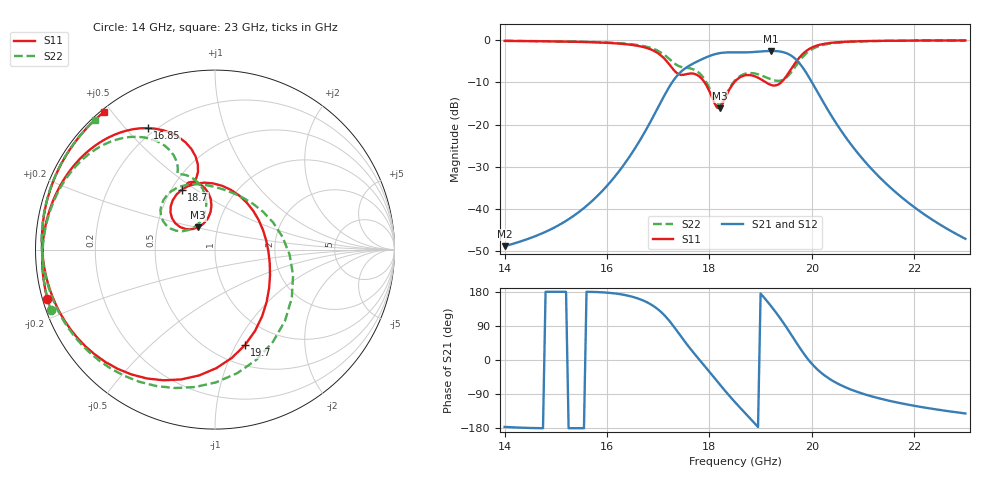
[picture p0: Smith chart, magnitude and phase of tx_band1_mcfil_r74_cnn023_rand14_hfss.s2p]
! Touchstone file exported from HFSS 3D Layout Design 2026.1.0
!  File:  D:/Work/SIM/ADS_AUTO_SIM/projects/RFSOC_RF/TX_Fillter.aedt
!  Generated:  08:07:48 AM Aug 31, 2026
!  Design:  TX_BAND1_MCFIL_R74_CNN023
!  Project:  TX_Fillter
# GHz S MA R 50.000000
! Terminal data exported
! Port[1] = Port1
! Port[2] = Port2
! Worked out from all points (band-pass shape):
!   181 points, 14 GHz to 23 GHz, reference 50 ohm
!   highest |S21| = -2.61 dB at 19.2 GHz (marker M1); lowest = -48.8 dB at 14 GHz (marker M2)
!   |S21| within 3 dB of the highest: 17.68 GHz to 19.76 GHz (2.085 GHz wide, 11.1 % of centre)
!   lowest |S11| = -16.1 dB at 18.2 GHz (marker M3), VSWR 1.37, Z = 40.2 + j10.2 ohm
!   |S11| at or under -10 dB: 17.9 GHz to 18.49 GHz (584.1 MHz wide, 3.21 % of centre); 19.1 GHz to 19.4 GHz (306.2 MHz wide, 1.59 % of centre)
!   |S22| runs from -15.4 to -0.1 dB; largest |S21 - S12| = 2e-14
!   S11 on the Smith chart (normalised r, x): 14 GHz: 0.01, -0.14; 16.85 GHz: 0.17, +0.58; 18.7 GHz: 0.56, +0.44; 19.7 GHz: 0.70, -1.09; 23 GHz: 0.01, +0.48
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14  0.9733 -163.6  0.00365 -176.5  0.00365 -176.5  0.9748 -159.8
15.5  0.9465 166.1  0.009744 -179.9  0.009744 -179.9  0.9508 171.7
16.25  0.9031 144.9  0.0288 173.9  0.0288 173.9  0.9133 152.3
16.85  0.7742 119.0  0.1081 147.3  0.1081 147.3  0.806 129.5
17  0.6933 110.6  0.1604 133.2  0.1604 133.2  0.74 122.3
17.25  0.4837 101.4  0.3004 97.9  0.3004 97.9  0.5717 113.6
17.5  0.3876 112.7  0.4487 52.2  0.4487 52.2  0.4719 116.3
17.7  0.3981 108.6  0.5321 17.6  0.5321 17.6  0.4453 111.2
17.9  0.3189 96.8  0.6088 -14.8  0.6088 -14.8  0.3467 101.5
18.2  0.1558 127.2  0.6974 -64.1  0.6974 -64.1  0.1696 131.4
18.5  0.3229 140.2  0.712 -111.3  0.712 -111.3  0.3319 151.0
18.7  0.3817 119.0  0.7116 -140.4  0.7116 -140.4  0.3987 136.0
18.95  0.3575 83.5  0.7257 -177.0  0.7257 -177.0  0.3926 113.1
19.2  0.2937 34.0  0.7405 142.9  0.7405 142.9  0.3424 85.7
19.45  0.3381 -25.0  0.7141 97.2  0.7141 97.2  0.3407 38.3
19.7  0.5579 -72.6  0.5805 45.6  0.5805 45.6  0.5055 -32.2
19.85  0.7064 -97.1  0.4465 15.6  0.4465 15.6  0.6556 -69.4
20  0.812 -117.8  0.3176 -9.8  0.3176 -9.8  0.7737 -98.2
20.25  0.9009 -143.3  0.1727 -40.8  0.1727 -40.8  0.8806 -131.0
20.55  0.9426 -163.7  0.0885 -65.3  0.0885 -65.3  0.9331 -155.4
21.5  0.9769 160.3  0.0188 -107.2  0.0188 -107.2  0.9755 165.1
23  0.9851 129.0  0.004463 -141.1  0.004463 -141.1  0.9849 133.0
